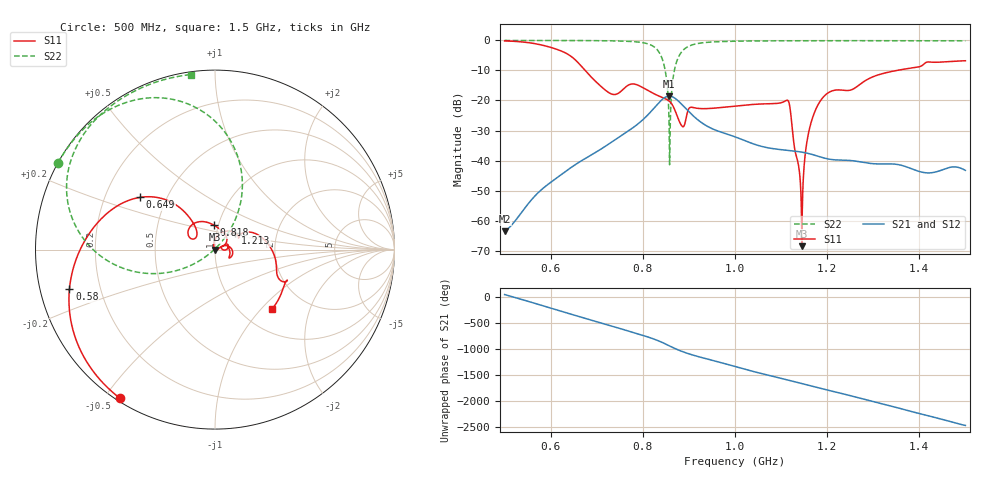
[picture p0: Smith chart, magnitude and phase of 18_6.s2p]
! TOUCHSTONE file generated by CST MICROWAVE STUDIO
! Date and time: Fri Oct  2 18:57:02 2020
! Project name: Scenario_1_Free_Space_out_of_line.cst
! Parameters = {Lambda=346.42; Step_1=17.321; dy1=52.843; dx1=1039; L_HA=400; MT=2.54; Rad_Dielectric=30; Rad_Lower=7.3; Rad_Upper=30; a_HA=580; a_WG=246; b_HA=500; b_WG=121; c_HA=0; c_WG=187; d_feed=85; h_feed=15; h_lower=18; h_upper=40}
! Header version: 2018
! Port assignment regex: !\s*Touchstone port\s*([0-9]+)\s*=\s*(CST MWS port|CST DS port)\s*([0-9]+|Zmin|Zmax)\s*\(\"(.*)\"\)(\s*mode\s*([0-9]+))?.*
! Touchstone port assignment:
! Touchstone port 1 = CST MWS port 1 ("")
! Touchstone port 2 = CST MWS port 2 ("")
# GHz S DB R 50
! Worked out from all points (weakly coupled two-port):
!   1003 points, 500 MHz to 1.5 GHz, reference 50 ohm
!   highest |S21| = -18.55 dB at 857 MHz (marker M1); lowest = -63.6 dB at 500 MHz (marker M2)
!   lowest |S11| = -68.5 dB at 1.145 GHz (marker M3), VSWR 1.00, Z = 50 - j0.0286 ohm
!   |S11| at or under -10 dB: 674.8 MHz to 1.351 GHz (676.1 MHz wide, 66.8 % of centre)
!   |S22| runs from -41.4 to 0.0 dB; largest |S21 - S12| = 7.6e-05
!   S11 on the Smith chart (normalised r, x): 500 MHz: 0.01, -0.55; 580 MHz: 0.09, -0.13; 649 MHz: 0.35, +0.28; 818 MHz: 0.95, +0.26; 1.213 GHz: 1.23, +0.23; 1.5 GHz: 1.37, -1.15
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0.5  -0.15 -122.6  -63.57 46.2  -63.57 46.2  -0.01 151.1
0.58  -1.51 -164.8  -49.70 -161.6  -49.70 -161.6  -0.01 145.6
0.649  -5.87 145.1  -41.82 15.2  -41.82 15.2  -0.03 140.0
0.667  -8.65 133.3  -40.05 -32.6  -40.05 -32.6  -0.04 138.3
0.732  -17.84 142.1  -33.89 160.1  -33.89 160.1  -0.13 130.4
0.778  -14.49 134.9  -29.13 38.5  -29.13 38.5  -0.38 120.9
0.818  -17.27 93.1  -23.62 -72.2  -23.62 -72.2  -1.56 101.7
0.834  -18.45 79.1  -20.88 -125.5  -20.88 -125.5  -3.65 85.2
0.848  -19.35 64.1  -18.98 179.1  -18.98 179.1  -9.59 63.4
0.857  -20.16 50.9  -18.55 140.3  -18.55 140.3  -27.62 49.9
0.862  -20.98 42.0  -18.66 118.7  -18.66 118.7  -18.14 -145.0
0.869  -23.01 30.2  -19.19 89.5  -19.19 89.5  -9.54 -156.6
0.888  -28.72 11.5  -21.85 20.3  -21.85 20.3  -3.16 178.7
0.904  -22.26 16.8  -24.35 -27.4  -24.35 -27.4  -1.64 166.2
1  -21.85 -2.4  -32.10 99.9  -32.10 99.9  -0.26 140.2
1.114  -19.93 -12.3  -36.61 -158.7  -36.60 -158.8  -0.11 128.5
1.145  -68.52 -130.2  -37.20 130.7  -37.20 130.8  -0.10 125.9
1.156  -33.82 108.9  -37.53 105.1  -37.53 105.1  -0.10 125.0
1.167  -26.38 94.2  -37.96 79.6  -37.96 79.6  -0.10 124.1
1.213  -16.70 39.3  -39.72 -19.7  -39.72 -19.7  -0.09 120.6
1.334  -10.53 6.0  -41.11 70.3  -41.11 70.3  -0.09 111.4
1.5  -6.77 -46.3  -43.27 44.5  -43.24 44.3  -0.14 97.8
